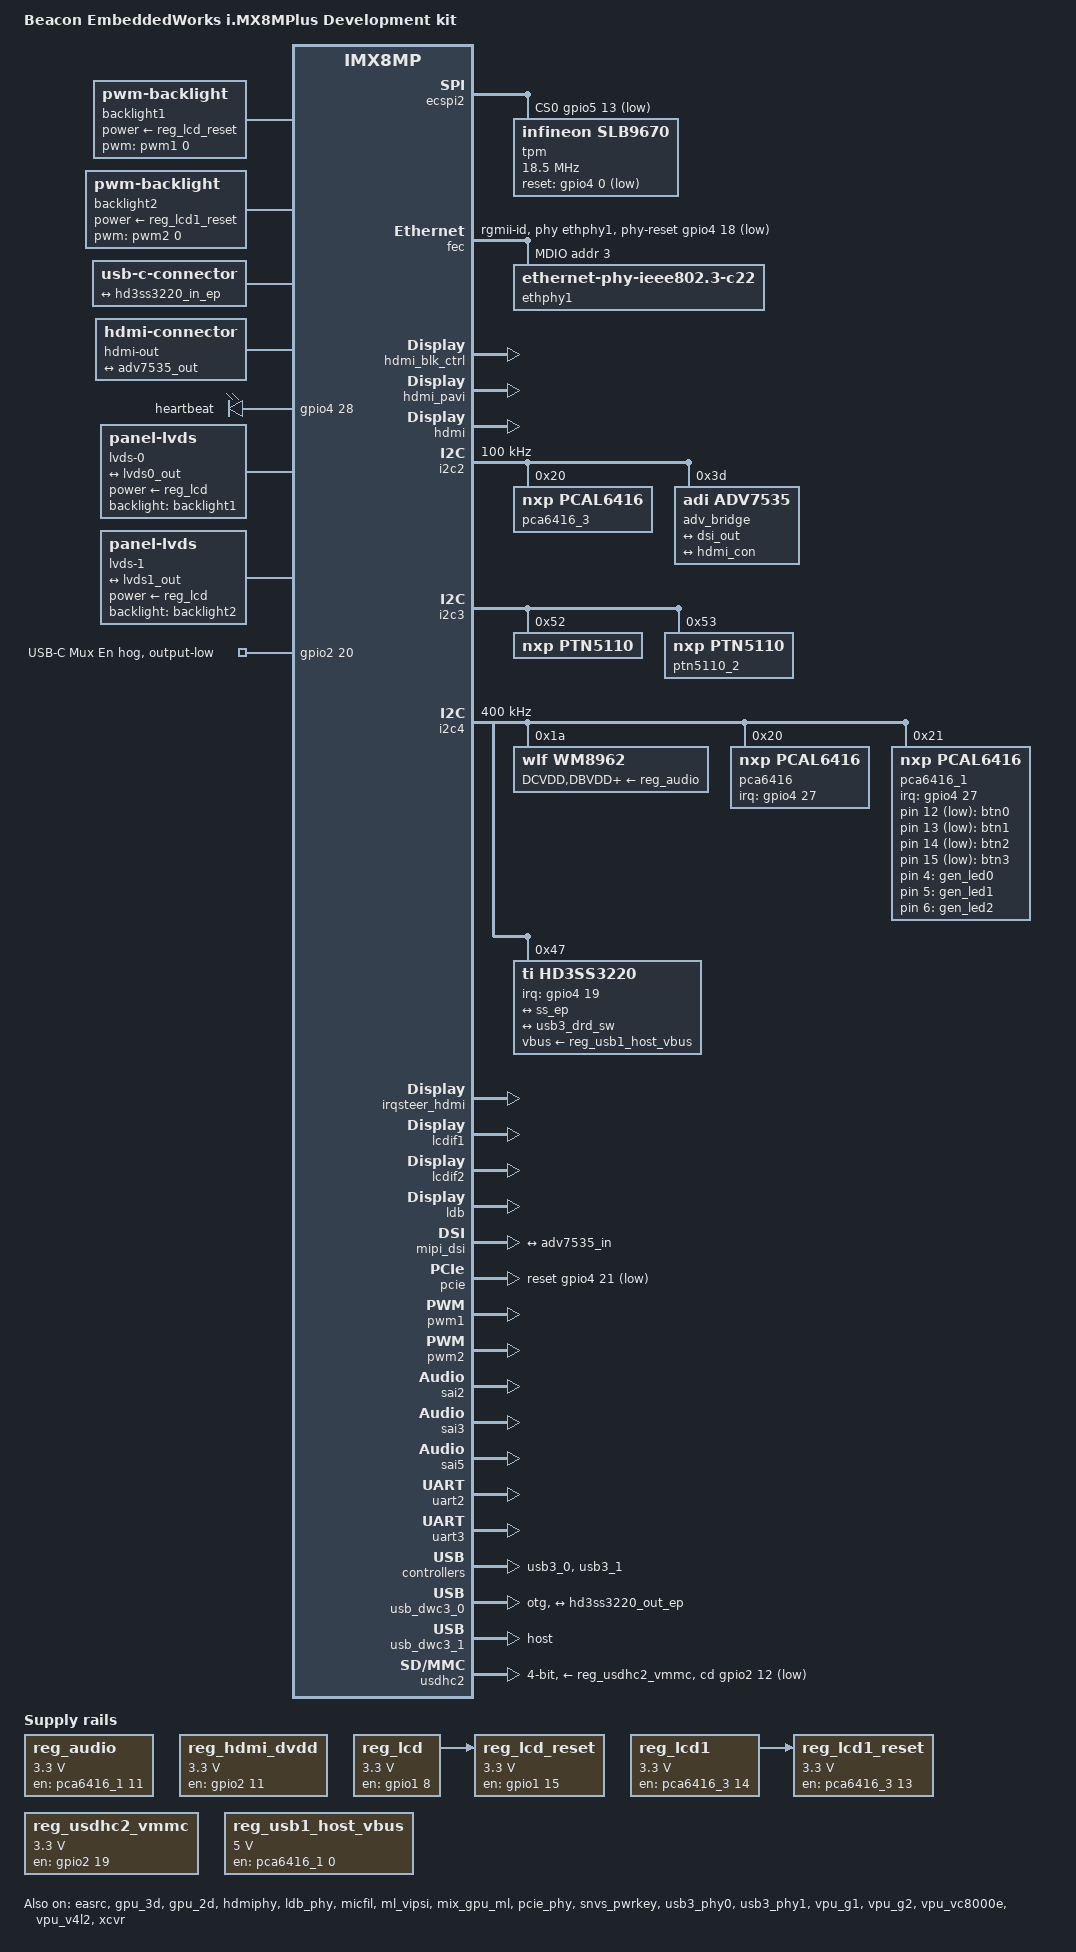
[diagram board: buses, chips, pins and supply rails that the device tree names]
// SPDX-License-Identifier: (GPL-2.0+ OR MIT)
/*
 * Copyright 2022 Logic PD, Inc dba Beacon EmbeddedWorks
 */

/dts-v1/;

#include <dt-bindings/usb/pd.h>
#include "imx8mp.dtsi"
#include "imx8mp-beacon-som.dtsi"

/ {
	model = "Beacon EmbeddedWorks i.MX8MPlus Development kit";
	compatible = "beacon,imx8mp-beacon-kit", "fsl,imx8mp";

	aliases {
		ethernet0 = &eqos;
		ethernet1 = &fec;
	};

	chosen {
		stdout-path = &uart2;
	};

	backlight1: backlight-1 {
		compatible = "pwm-backlight";
		pwms = <&pwm1 0 100000>;
		power-supply = <&reg_lcd_reset>;
		status = "okay";

		brightness-levels = < 0  1  2  3  4  5  6  7  8  9
				     10 11 12 13 14 15 16 17 18 19
				     20 21 22 23 24 25 26 27 28 29
				     30 31 32 33 34 35 36 37 38 39
				     40 41 42 43 44 45 46 47 48 49
				     50 51 52 53 54 55 56 57 58 59
				     60 61 62 63 64 65 66 67 68 69
				     70 71 72 73 74 75 76 77 78 79
				     80 81 82 83 84 85 86 87 88 89
				     90 91 92 93 94 95 96 97 98 99
				    100>;
		default-brightness-level = <80>;
	};

	backlight2: backlight-2 {
		compatible = "pwm-backlight";
		pwms = <&pwm2 0 100000>;
		power-supply = <&reg_lcd1_reset>;
		status = "okay";

		brightness-levels = < 0  1  2  3  4  5  6  7  8  9
				     10 11 12 13 14 15 16 17 18 19
				     20 21 22 23 24 25 26 27 28 29
				     30 31 32 33 34 35 36 37 38 39
				     40 41 42 43 44 45 46 47 48 49
				     50 51 52 53 54 55 56 57 58 59
				     60 61 62 63 64 65 66 67 68 69
				     70 71 72 73 74 75 76 77 78 79
				     80 81 82 83 84 85 86 87 88 89
				     90 91 92 93 94 95 96 97 98 99
				    100>;
		default-brightness-level = <80>;
	};

	connector {
		compatible = "usb-c-connector";
		label = "USB-C";
		data-role = "dual";

		ports {
			#address-cells = <1>;
			#size-cells = <0>;

			port@1 {
				reg = <1>;
				ss_ep: endpoint {
					remote-endpoint = <&hd3ss3220_in_ep>;
				};
			};
		};
	};

	gpio-keys {
		compatible = "gpio-keys";
		autorepeat;

		btn0 {
			label = "btn0";
			linux,code = <BTN_0>;
			gpios = <&pca6416_1 12 (GPIO_ACTIVE_LOW | GPIO_PULL_UP)>;
			wakeup-source;
		};

		btn1 {
			label = "btn1";
			linux,code = <BTN_1>;
			gpios = <&pca6416_1 13 (GPIO_ACTIVE_LOW | GPIO_PULL_UP)>;
			wakeup-source;
		};

		btn2 {
			label = "btn2";
			linux,code = <BTN_2>;
			gpios = <&pca6416_1 14 (GPIO_ACTIVE_LOW | GPIO_PULL_UP)>;
			wakeup-source;
		};

		btn3 {
			label = "btn3";
			linux,code = <BTN_3>;
			gpios = <&pca6416_1 15 (GPIO_ACTIVE_LOW | GPIO_PULL_UP)>;
			wakeup-source;
		};
	};

	hdmi-out {
		compatible = "hdmi-connector";
		type = "a";

		port {
			hdmi_con: endpoint {
				remote-endpoint = <&adv7535_out>;
			};
		};
	};

	leds {
		compatible = "gpio-leds";

		led0 {
			label = "gen_led0";
			gpios = <&pca6416_1 4 GPIO_ACTIVE_HIGH>;
			default-state = "off";
		};

		led1 {
			label = "gen_led1";
			gpios = <&pca6416_1 5 GPIO_ACTIVE_HIGH>;
			default-state = "off";
		};

		led2 {
			label = "gen_led2";
			gpios = <&pca6416_1 6 GPIO_ACTIVE_HIGH>;
			default-state = "off";
		};

		led3 {
			pinctrl-names = "default";
			pinctrl-0 = <&pinctrl_led3>;
			label = "heartbeat";
			gpios = <&gpio4 28 GPIO_ACTIVE_HIGH>;
			linux,default-trigger = "heartbeat";
		};
	};

	lvds-0 {
		compatible = "panel-lvds";
		power-supply = <&reg_lcd>;
		width-mm = <223>;
		height-mm = <125>;
		backlight = <&backlight1>;
		data-mapping = "vesa-24";

		panel-timing {
			/* 800x480@60Hz */
			clock-frequency = <30000000>;
			hactive = <800>;
			vactive = <480>;
			hsync-len = <48>;
			hfront-porch = <40>;
			hback-porch = <40>;
			vfront-porch = <13>;
			vback-porch = <29>;
			vsync-len = <1>;
			hsync-active = <1>;
			vsync-active = <3>;
			de-active = <1>;
			pixelclk-active = <0>;
		};

		port {
			panel0_in: endpoint {
				remote-endpoint = <&lvds0_out>;
			};
		};
	};

	lvds-1 {
		compatible = "panel-lvds";
		power-supply = <&reg_lcd>;
		width-mm = <223>;
		height-mm = <125>;
		backlight = <&backlight2>;
		data-mapping = "vesa-24";

		panel-timing {
			/* 800x480@60Hz */
			clock-frequency = <30000000>;
			hactive = <800>;
			vactive = <480>;
			hsync-len = <48>;
			hfront-porch = <40>;
			hback-porch = <40>;
			vfront-porch = <13>;
			vback-porch = <29>;
			vsync-len = <1>;
			hsync-active = <1>;
			vsync-active = <3>;
			de-active = <1>;
			pixelclk-active = <0>;
		};

		port {
			panel1_in: endpoint {
				remote-endpoint = <&lvds1_out>;
			};
		};
	};

	reg_audio: regulator-audio {
		compatible = "regulator-fixed";
		regulator-name = "3v3_aud";
		regulator-min-microvolt = <3300000>;
		regulator-max-microvolt = <3300000>;
		gpio = <&pca6416_1 11 GPIO_ACTIVE_HIGH>;
		enable-active-high;
	};

	reg_hdmi_dvdd: regulator-hdmi-dvdd {
		pinctrl-names = "default";
		pinctrl-0 = <&pinctrl_hdmi>;
		compatible = "regulator-fixed";
		regulator-name = "hdmi_pwr_en";
		regulator-min-microvolt = <3300000>;
		regulator-max-microvolt = <3300000>;
		gpio = <&gpio2 11 GPIO_ACTIVE_HIGH>;
		enable-active-high;
		startup-delay-us = <70000>;
	};

	reg_lcd_reset: regulator-lcd-reset {
		pinctrl-names = "default";
		pinctrl-0 = <&pinctrl_lcd_rst>;
		compatible = "regulator-fixed";
		regulator-name = "nLCD_RESET";
		regulator-min-microvolt = <3300000>;
		regulator-max-microvolt = <3300000>;
		gpio = <&gpio1 15 GPIO_ACTIVE_HIGH>;
		enable-active-high;
		vin-supply = <&reg_lcd>;
	};

	reg_lcd: regulator-lcd {
		compatible = "regulator-fixed";
		pinctrl-names = "default";
                pinctrl-0 = <&pinctrl_lcd_reg>;
                regulator-name = "lcd_regulator";
                regulator-min-microvolt = <3300000>;
                regulator-max-microvolt = <3300000>;
                gpio = <&gpio1 8 GPIO_ACTIVE_HIGH>;
                enable-active-high;

	};

	reg_lcd1_reset: regulator-lcd1-reset {
		compatible = "regulator-fixed";
		regulator-name = "LVDS-1 reset";
		regulator-min-microvolt = <3300000>;
		regulator-max-microvolt = <3300000>;
		gpio = <&pca6416_3 13 GPIO_ACTIVE_HIGH>;
		enable-active-high;
		vin-supply = <&reg_lcd1>;
	};

	reg_lcd1: regulator-lcd1 {
		compatible = "regulator-fixed";
                regulator-name = "lvds-1 power";
                regulator-min-microvolt = <3300000>;
                regulator-max-microvolt = <3300000>;
                gpio = <&pca6416_3 14 GPIO_ACTIVE_HIGH>;
                enable-active-high;

	};

	reg_usdhc2_vmmc: regulator-usdhc2 {
		compatible = "regulator-fixed";
		regulator-name = "VSD_3V3";
		regulator-min-microvolt = <3300000>;
		regulator-max-microvolt = <3300000>;
		gpio = <&gpio2 19 GPIO_ACTIVE_HIGH>;
		enable-active-high;
		startup-delay-us = <100>;
		off-on-delay-us = <20000>;
	};

	reg_usb1_host_vbus: regulator-usb1-vbus {
		compatible = "regulator-fixed";
		regulator-name = "usb1_host_vbus";
		regulator-min-microvolt = <5000000>;
		regulator-max-microvolt = <5000000>;
		gpio = <&pca6416_1 0 GPIO_ACTIVE_HIGH>;
		enable-active-high;
	};

	sound-hdmi {
		compatible = "fsl,imx-audio-hdmi";
		model = "audio-hdmi";
		audio-cpu = <&aud2htx>;
		hdmi-out;
		constraint-rate = <44100>,
				<88200>,
				<176400>,
				<32000>,
				<48000>,
				<96000>,
				<192000>;
		status = "disabled";
	};

	sound-hdmi-bridge {
		compatible = "simple-audio-card";
		simple-audio-card,name = "hdmi-sound";
		simple-audio-card,format = "i2s";
		#sound-dai-cells = <0>;
		status = "disabled";

		simple-audio-card,cpu {
			sound-dai = <&sai5 0>;
			system-clock-direction-out;
		};
		simple-audio-card,codec {
			sound-dai = <&adv_bridge 0>;
		};
	};

	sound-codec {
		compatible = "fsl,imx-audio-wm8962";
		model = "wm8962-audio";
		audio-cpu = <&sai3>;
		audio-codec = <&wm8962>;
		audio-routing =
			"Headphone Jack", "HPOUTL",
			"Headphone Jack", "HPOUTR",
			"Ext Spk", "SPKOUTL",
			"Ext Spk", "SPKOUTR",
			"AMIC", "MICBIAS",
			"IN3R", "AMIC";
	};

	sound-micfil {
		compatible = "fsl,imx-audio-card";
		model = "imx-audio-micfil";
		pri-dai-link {
			link-name = "micfil hifi";
			format = "i2s";
			cpu {
				sound-dai = <&micfil>;
			};
		};
	};

	sound-xcvr {
		compatible = "fsl,imx-audio-xcvr";
		model = "imx-audio-xcvr";
		cpu-dai = <&xcvr>;
	};
};

&easrc {
	fsl,asrc-rate  = <48000>;
	status = "okay";
};

&ecspi2 {
	#address-cells = <1>;
	#size-cells = <0>;
	fsl,spi-num-chipselects = <1>;
	pinctrl-names = "default";
	pinctrl-0 = <&pinctrl_ecspi2>;
	cs-gpios = <&gpio5 13 GPIO_ACTIVE_LOW>;
	status = "okay";

	tpm: tpm_tis@0 {
		pinctrl-names = "default";
		pinctrl-0 = <&pinctrl_tpm>;
		compatible = "infineon,slb9670";
		reg = <0>;
		spi-max-frequency = <18500000>;
		reset-gpios = <&gpio4 0 GPIO_ACTIVE_LOW>;
	};
};

&fec {
	pinctrl-names = "default";
	pinctrl-0 = <&pinctrl_fec>;
	phy-mode = "rgmii-id";
	phy-handle = <&ethphy1>;
	phy-reset-gpios = <&gpio4 18 GPIO_ACTIVE_LOW>;
	phy-reset-post-delay = <150>;
	phy-reset-duration = <10>;
	fsl,magic-packet;
	status = "okay";

	mdio {
		#address-cells = <1>;
		#size-cells = <0>;

		ethphy1: ethernet1-phy@3 {
			compatible = "ethernet-phy-ieee802.3-c22";
			reg = <3>;
		};
	};
};

&gpu_3d {
	status = "okay";
};

&gpu_2d {
	status = "okay";
};

&hdmi_blk_ctrl {
	status = "okay";
};

&hdmi_pavi {
	status = "okay";
};

&hdmi {
	status = "okay";
};

&hdmiphy {
	status = "okay";
};

&i2c2 {
	clock-frequency = <100000>;
	pinctrl-names = "default";
	pinctrl-0 = <&pinctrl_i2c2>;
	status = "okay";

	pca6416_3: gpio-i2c2@20 {
                compatible = "nxp,pcal6416";
                reg = <0x20>;
                gpio-controller;
                #gpio-cells = <2>;
        };

	adv_bridge: adv7535@3d {
		compatible = "adi,adv7535";
		reg = <0x3d>;
		adi,addr-cec = <0x3b>;
		adi,dsi-lanes = <4>;
		#sound-dai-cells = <0>;
		status = "okay";

		ports {
			#address-cells = <1>;
			#size-cells = <0>;

			port@0 {
				reg = <0>;
				adv7535_in: endpoint {
					remote-endpoint = <&dsi_out>;
				};
			};

			port@1 {
				reg = <1>;
				adv7535_out: endpoint {
					remote-endpoint = <&hdmi_con>;
				};
			};
		};
	};
};

&i2c3 {
	/* Connected to USB Dual-Role Hub */
	ptn5110: tcpc@52 {
		compatible = "nxp,ptn5110";
		reg = <0x52>;

		typec1_con: connector {
			compatible = "usb-c-connector";
			label = "USB-C";
			power-role = "dual";
			data-role = "dual";
			try-power-role = "sink";
			source-pdos = <PDO_FIXED(5000, 3000, PDO_FIXED_USB_COMM)>;
			sink-pdos = <PDO_FIXED(5000, 3000, PDO_FIXED_USB_COMM)
				     PDO_VAR(5000, 20000, 3000)>;
			op-sink-microwatt = <15000000>;
			self-powered;
			status = "disabled";
		};
	};

	/* Enables power to board */
	ptn5110_2: tcpc@53 {
		compatible = "nxp,ptn5110";
		reg = <0x53>;

		usb_pwr: connector {
			compatible = "usb-c-connector";
			label = "USB-C";
			data-role = "device";
			power-role = "sink";
			try-power-role = "sink";
			sink-pdos = <PDO_FIXED(9000, 2000, PDO_FIXED_USB_COMM)
				     PDO_VAR(12000, 20000, 2000)>;
			op-sink-microwatt = <10000000>;
			status = "disabled";
		};
	};
};

&i2c4 {
	clock-frequency = <400000>;
	pinctrl-names = "default";
	pinctrl-0 = <&pinctrl_i2c4>;
	status = "okay";

	wm8962: audio-codec@1a {
		compatible = "wlf,wm8962";
		reg = <0x1a>;
		clocks = <&clk IMX8MP_CLK_SAI3_ROOT>;
		clock-names = "xclk";
		DCVDD-supply = <&reg_audio>;
		DBVDD-supply = <&reg_audio>;
		AVDD-supply = <&reg_audio>;
		CPVDD-supply = <&reg_audio>;
		MICVDD-supply = <&reg_audio>;
		PLLVDD-supply = <&reg_audio>;
		SPKVDD1-supply = <&reg_audio>;
		SPKVDD2-supply = <&reg_audio>;
		gpio-cfg = <
			0x0000 /* 0:Default */
			0x0000 /* 1:Default */
			0x0000 /* 2:FN_DMICCLK */
			0x0000 /* 3:Default */
			0x0000 /* 4:FN_DMICCDAT */
			0x0000 /* 5:Default */
		>;
	};

	pca6416: gpio@20 {
		compatible = "nxp,pcal6416";
		reg = <0x20>;
		pinctrl-names = "default";
		pinctrl-0 = <&pinctrl_pcal6414>;
		gpio-controller;
		#gpio-cells = <2>;
		interrupt-parent = <&gpio4>;
		interrupts = <27 IRQ_TYPE_LEVEL_LOW>;
	};

	pca6416_1: gpio@21 {
		compatible = "nxp,pcal6416";
		reg = <0x21>;
		gpio-controller;
		#gpio-cells = <2>;
		interrupt-parent = <&gpio4>;
		interrupts = <27 IRQ_TYPE_LEVEL_LOW>;

		usb-reset {
			gpio-hog;
			gpios = <7 0>;
			output-low;
			line-name = "USB Hub Reset";
		};
	};

	hd3ss3220@47 {
		pinctrl-names = "default";
		pinctrl-0 = <&pinctrl_hd3ss3220>;
		compatible = "ti,hd3ss3220";
		reg = <0x47>;
		vbus-supply = <&reg_usb1_host_vbus>;
		interrupt-parent = <&gpio4>;
		interrupts = <19 IRQ_TYPE_LEVEL_LOW>;

		ports {
			#address-cells = <1>;
			#size-cells = <0>;
			port@0 {
				reg = <0>;
				hd3ss3220_in_ep: endpoint {
					remote-endpoint = <&ss_ep>;
				};
			};
			port@1 {
				reg = <1>;
				hd3ss3220_out_ep: endpoint {
					remote-endpoint = <&usb3_drd_sw>;
				};
			};
		};
	};
};

&gpio2 {
	usb-reset {
		gpio-hog;
		gpios = <20 0>;
		output-low;
		line-name = "USB-C Mux En";
	};
};

&irqsteer_hdmi {
	status = "okay";
};

&lcdif1 {
	status = "okay";
};

&lcdif2 {
	status = "okay";
};

&lcdif3 {
	status = "disabled";

	thres-low  = <1 2>;             /* (FIFO * 1 / 2) */
	thres-high = <3 4>;             /* (FIFO * 3 / 4) */
};

&ldb {
	status = "okay";

	lvds-channel@0 {
		status = "okay";
		fsl,data-mapping = "spwg";
		fsl,data-width = <24>;

		port@1 {
			reg = <1>;

			lvds0_out: endpoint {
				remote-endpoint = <&panel0_in>;
			};
		};
	};

	lvds-channel@1 {
		status = "okay";
		fsl,data-mapping = "spwg";
		fsl,data-width = <24>;

		port@1 {
			reg = <1>;

			lvds1_out: endpoint {
				remote-endpoint = <&panel1_in>;
			};
		};
	};
};

&ldb_phy {
	status = "okay";
};

&micfil {
	pinctrl-names = "default";
	pinctrl-0 = <&pinctrl_pdm>;
	assigned-clocks = <&clk IMX8MP_CLK_PDM>;
	assigned-clock-parents = <&clk IMX8MP_AUDIO_PLL1_OUT>;
	assigned-clock-rates = <196608000>;
	#sound-dai-cells = <0>;
	status = "okay";
};

&mipi_dsi {
	status = "okay";

	port@1 {
		dsi_out: endpoint {
			remote-endpoint = <&adv7535_in>;
			attach-bridge;
		};
	};
};

&ml_vipsi {
	status = "okay";
};

&mix_gpu_ml {
	status = "okay";
};

&pcie{
	pinctrl-names = "default";
	pinctrl-0 = <&pinctrl_pcie>;
	disable-gpio = <&gpio1 5 GPIO_ACTIVE_LOW>;
	reset-gpio = <&gpio4 21 GPIO_ACTIVE_LOW>;
	ext_osc = <1>;
	clocks = <&clk IMX8MP_CLK_HSIO_ROOT>,
		 <&clk IMX8MP_CLK_PCIE_AUX>,
		 <&clk IMX8MP_CLK_HSIO_AXI>,
		 <&clk IMX8MP_CLK_PCIE_ROOT>;
	clock-names = "pcie", "pcie_aux", "pcie_phy", "pcie_bus";
	assigned-clocks = <&clk IMX8MP_CLK_HSIO_AXI>,
			  <&clk IMX8MP_CLK_PCIE_AUX>;
	assigned-clock-rates = <500000000>, <10000000>;
	assigned-clock-parents = <&clk IMX8MP_SYS_PLL2_500M>,
				 <&clk IMX8MP_SYS_PLL2_50M>;
	l1ss-disabled;
	status = "okay";
};

&pcie_ep{
	pinctrl-names = "default";
	pinctrl-0 = <&pinctrl_pcie>;
	ext_osc = <1>;
	clocks = <&clk IMX8MP_CLK_HSIO_ROOT>,
		 <&clk IMX8MP_CLK_PCIE_AUX>,
		 <&clk IMX8MP_CLK_HSIO_AXI>,
		 <&clk IMX8MP_CLK_PCIE_ROOT>;
	clock-names = "pcie", "pcie_aux", "pcie_phy", "pcie_bus";
	assigned-clocks = <&clk IMX8MP_CLK_HSIO_AXI>,
			  <&clk IMX8MP_CLK_PCIE_AUX>;
	assigned-clock-rates = <500000000>, <10000000>;
	assigned-clock-parents = <&clk IMX8MP_SYS_PLL2_500M>,
				 <&clk IMX8MP_SYS_PLL2_50M>;
	status = "disabled";
};

&pcie_phy{
	ext_osc = <1>;
	status = "okay";
};

&pwm1 {
        status = "okay";
        pinctrl-names = "default";
        pinctrl-0 = <&pinctrl_pwm1>;
};

&pwm2 {
        status = "okay";
        pinctrl-names = "default";
        pinctrl-0 = <&pinctrl_pwm2>;
};

&sai2 {
	#sound-dai-cells = <0>;
	pinctrl-names = "default";
	pinctrl-0 = <&pinctrl_sai2>;
	assigned-clocks = <&clk IMX8MP_CLK_SAI2>;
	assigned-clock-parents = <&clk IMX8MP_AUDIO_PLL1_OUT>;
	assigned-clock-rates = <12288000>;
	status = "okay";
};

&sai3 {
	pinctrl-names = "default";
	pinctrl-0 = <&pinctrl_sai3>;
	assigned-clocks = <&clk IMX8MP_CLK_SAI3>;
	assigned-clock-parents = <&clk IMX8MP_AUDIO_PLL1_OUT>;
	assigned-clock-rates = <12288000>;
	clocks = <&audio_blk_ctrl IMX8MP_CLK_AUDIO_BLK_CTRL_SAI3_IPG>,
		 <&clk IMX8MP_CLK_DUMMY>,
		 <&audio_blk_ctrl IMX8MP_CLK_AUDIO_BLK_CTRL_SAI3_MCLK1>,
		 <&clk IMX8MP_CLK_DUMMY>,
		 <&clk IMX8MP_CLK_DUMMY>;
	clock-names = "bus", "mclk0", "mclk1", "mclk2", "mclk3";
	fsl,sai-mclk-direction-output;
	status = "okay";
};

&sai5 {
	pinctrl-names = "default";
	pinctrl-0 = <&pinctrl_sai5>;
	assigned-clocks = <&clk IMX8MP_CLK_SAI5>;
	assigned-clock-parents = <&clk IMX8MP_AUDIO_PLL1_OUT>;
	assigned-clock-rates = <24576000>;
	#sound-dai-cells = <0>;
	status = "okay";
};

&sdma2 {
	status = "okay";
};

&snvs_pwrkey {
	status = "okay";
};

&uart2 {
	/* console */
	pinctrl-names = "default";
	pinctrl-0 = <&pinctrl_uart2>;
	status = "okay";
};

&uart3 {
	pinctrl-names = "default";
	pinctrl-0 = <&pinctrl_uart3>;
	assigned-clocks = <&clk IMX8MP_CLK_UART3>;
	assigned-clock-parents = <&clk IMX8MP_SYS_PLL1_80M>;
	fsl,uart-has-rtscts;
	status = "okay";
};

&usb3_phy0 {
	fsl,phy-tx-vref-tune = <0xe>;
	fsl,phy-tx-preemp-amp-tune = <3>;
	fsl,phy-tx-vboost-level = <5>;
	fsl,phy-comp-dis-tune = <7>;
	fsl,pcs-tx-deemph-3p5db = <0x21>;
	fsl,phy-pcs-tx-swing-full = <0x7f>;
	status = "okay";
};

&usb3_0 {
	status = "okay";
};

&usb_dwc3_0 {
	dr_mode = "otg";
	hnp-disable;
	srp-disable;
	adp-disable;
	usb-role-switch;
	role-switch-default-mode = "none";
	snps,dis-u1-entry-quirk;
	snps,dis-u2-entry-quirk;
	status = "okay";

	port@0 {
		usb3_drd_sw: endpoint {
			remote-endpoint = <&hd3ss3220_out_ep>;
		};
	};
};

&usb3_phy1 {
	fsl,phy-tx-preemp-amp-tune = <3>;
	fsl,phy-tx-vref-tune = <0xb>;
	status = "okay";
};

&usb3_1 {
	status = "okay";
};

&usb_dwc3_1 {
	pinctrl-names = "default";
	pinctrl-0 = <&pinctrl_usb1_vbus>;
	dr_mode = "host";
	status = "okay";
};

&usdhc2 {
	assigned-clocks = <&clk IMX8MP_CLK_USDHC2>;
	assigned-clock-rates = <400000000>;
	pinctrl-names = "default", "state_100mhz", "state_200mhz";
	pinctrl-0 = <&pinctrl_usdhc2>, <&pinctrl_usdhc2_gpio>;
	pinctrl-1 = <&pinctrl_usdhc2_100mhz>, <&pinctrl_usdhc2_gpio>;
	pinctrl-2 = <&pinctrl_usdhc2_200mhz>, <&pinctrl_usdhc2_gpio>;
	cd-gpios = <&gpio2 12 GPIO_ACTIVE_LOW>;
	vmmc-supply = <&reg_usdhc2_vmmc>;
	bus-width = <4>;
	status = "okay";
};

&vpu_g1 {
	status = "okay";
};

&vpu_g2 {
	status = "okay";
};

&vpu_vc8000e {
	status = "okay";
};

&vpu_v4l2 {
	status = "okay";
};

&xcvr {
	#sound-dai-cells = <0>;
	status = "okay";
};

&iomuxc {
	pinctrl-names = "default";
	pinctrl-0 = <&pinctrl_hog>;

	pinctrl_hog: hoggrp {
		fsl,pins = <
			MX8MP_IOMUXC_HDMI_DDC_SCL__HDMIMIX_HDMI_SCL	0x400001c3
			MX8MP_IOMUXC_HDMI_DDC_SDA__HDMIMIX_HDMI_SDA	0x400001c3
			MX8MP_IOMUXC_HDMI_HPD__HDMIMIX_HDMI_HPD		0x40000019
			MX8MP_IOMUXC_HDMI_CEC__HDMIMIX_HDMI_CEC		0x40000019
			MX8MP_IOMUXC_SD2_WP__GPIO2_IO20			0x16
		>;
	};

	pinctrl_lcd_rst: lcd_rstgrp {
		fsl,pins = <
			MX8MP_IOMUXC_GPIO1_IO15__GPIO1_IO15		0x16
		>;
	};

	pinctrl_lcd_reg: lcd_reggrp {
		fsl,pins = <
			MX8MP_IOMUXC_GPIO1_IO08__GPIO1_IO08		0x16
		>;
	};

	pinctrl_touchscreen: touchscreengrp {
		fsl,pins = <
			MX8MP_IOMUXC_GPIO1_IO09__GPIO1_IO09	0x119
		>;
	};

	pinctrl_lvds: lvdsgrp {
		fsl,pins = <
			MX8MP_IOMUXC_SD1_STROBE__GPIO2_IO11		0x16
		>;
	};

	pinctrl_pwm1: pwm1grp {
		fsl,pins = <
			MX8MP_IOMUXC_GPIO1_IO01__PWM1_OUT	0x116
		>;
	};

	pinctrl_pwm2: pwm2grp {
		fsl,pins = <
			MX8MP_IOMUXC_GPIO1_IO09__PWM2_OUT	0x116
		>;
	};

	pinctrl_ecspi2: ecspi2grp {
		fsl,pins = <
			MX8MP_IOMUXC_ECSPI2_SCLK__ECSPI2_SCLK		0x82
			MX8MP_IOMUXC_ECSPI2_MOSI__ECSPI2_MOSI		0x82
			MX8MP_IOMUXC_ECSPI2_MISO__ECSPI2_MISO		0x82
			MX8MP_IOMUXC_ECSPI2_SS0__GPIO5_IO13		0x40000
		>;
	};

	pinctrl_i2c4: i2c4grp {
		fsl,pins = <
			MX8MP_IOMUXC_I2C4_SCL__I2C4_SCL		0x400001c2
			MX8MP_IOMUXC_I2C4_SDA__I2C4_SDA		0x400001c2
		>;
	};

	pinctrl_fec: fecgrp {
		fsl,pins = <
			MX8MP_IOMUXC_SAI1_RXD2__ENET1_MDC		0x2
			MX8MP_IOMUXC_SAI1_RXD3__ENET1_MDIO		0x2
			MX8MP_IOMUXC_SAI1_RXD4__ENET1_RGMII_RD0	0x90
			MX8MP_IOMUXC_SAI1_RXD5__ENET1_RGMII_RD1	0x90
			MX8MP_IOMUXC_SAI1_RXD6__ENET1_RGMII_RD2	0x90
			MX8MP_IOMUXC_SAI1_RXD7__ENET1_RGMII_RD3	0x90
			MX8MP_IOMUXC_SAI1_TXC__ENET1_RGMII_RXC	0x90
			MX8MP_IOMUXC_SAI1_TXFS__ENET1_RGMII_RX_CTL	0x90
			MX8MP_IOMUXC_SAI1_TXD0__ENET1_RGMII_TD0	0x16
			MX8MP_IOMUXC_SAI1_TXD1__ENET1_RGMII_TD1	0x16
			MX8MP_IOMUXC_SAI1_TXD2__ENET1_RGMII_TD2	0x16
			MX8MP_IOMUXC_SAI1_TXD3__ENET1_RGMII_TD3	0x16
			MX8MP_IOMUXC_SAI1_TXD4__ENET1_RGMII_TX_CTL	0x16
			MX8MP_IOMUXC_SAI1_TXD5__ENET1_RGMII_TXC	0x16
			MX8MP_IOMUXC_SAI1_RXD0__GPIO4_IO02		0x10
			MX8MP_IOMUXC_SAI1_TXD6__GPIO4_IO18		0x10
		>;
	};

	pinctrl_hd3ss3220: hd3ss3220grp {
		fsl,pins = <
			MX8MP_IOMUXC_SAI1_TXD7__GPIO4_IO19 	0x1d6
		>;
	};

	pinctrl_hdmi: hdmigrp {
		fsl,pins = <
			MX8MP_IOMUXC_SD1_STROBE__GPIO2_IO11              0x16
		>;
	};

	pinctrl_hdmi_bridge: synaptics_dsx_iogrp {
		fsl,pins = <
			MX8MP_IOMUXC_GPIO1_IO09__GPIO1_IO09		0x16
		>;
	};

	pinctrl_i2c2: i2c2grp {
		fsl,pins = <
			MX8MP_IOMUXC_I2C2_SCL__I2C2_SCL		0x400001c2
			MX8MP_IOMUXC_I2C2_SDA__I2C2_SDA		0x400001c2
		>;
	};

	pinctrl_mipi_dsi_en: mipi_dsi_en {
		fsl,pins = <
			MX8MP_IOMUXC_GPIO1_IO08__GPIO1_IO08	0x16
		>;
	};

	pinctrl_pcal6414: pcal6414-gpiogrp {
		fsl,pins = <
			MX8MP_IOMUXC_SAI2_MCLK__GPIO4_IO27		0x19
		>;
	};

	pinctrl_led3: led3grp {
		fsl,pins = <
			MX8MP_IOMUXC_SAI3_RXFS__GPIO4_IO28	0x41
		>;
	};

	pinctrl_pcie: pciegrp {
		fsl,pins = <
			MX8MP_IOMUXC_GPIO1_IO05__GPIO1_IO05	0x19 /* PCIe_nDIS */
			MX8MP_IOMUXC_SAI2_RXFS__GPIO4_IO21 0x41	/* PCIe_nRST */
		>;
	};

	pinctrl_reg_usdhc2_vmmc: regusdhc2vmmcgrp {
		fsl,pins = <
			MX8MP_IOMUXC_SD2_RESET_B__GPIO2_IO19	0x41
		>;
	};

	pinctrl_pdm: pdmgrp {
		fsl,pins = <
			MX8MP_IOMUXC_SAI5_RXC__AUDIOMIX_PDM_CLK		0xd6
			MX8MP_IOMUXC_SAI5_RXD0__AUDIOMIX_PDM_BIT_STREAM00	0xd6
		>;
	};

	pinctrl_sai2: sai2grp {
		fsl,pins = <
			MX8MP_IOMUXC_SAI2_TXC__AUDIOMIX_SAI2_TX_BCLK	0xd6
			MX8MP_IOMUXC_SAI2_TXFS__AUDIOMIX_SAI2_TX_SYNC	0xd6
			MX8MP_IOMUXC_SAI2_TXD0__AUDIOMIX_SAI2_TX_DATA00	0xd6
			MX8MP_IOMUXC_SAI2_RXD0__AUDIOMIX_SAI2_RX_DATA00	0xd6
		>;
	};

	pinctrl_sai3: sai3grp {
		fsl,pins = <
			MX8MP_IOMUXC_SAI3_TXFS__AUDIOMIX_SAI3_TX_SYNC	0xd6
			MX8MP_IOMUXC_SAI3_TXC__AUDIOMIX_SAI3_TX_BCLK	0xd6
			MX8MP_IOMUXC_SAI3_RXD__AUDIOMIX_SAI3_RX_DATA00	0xd6
			MX8MP_IOMUXC_SAI3_TXD__AUDIOMIX_SAI3_TX_DATA00	0xd6
			MX8MP_IOMUXC_SAI3_MCLK__AUDIOMIX_SAI3_MCLK	0xd6
		>;
	};

	pinctrl_sai5: sai5grp {
		fsl,pins = <
			MX8MP_IOMUXC_SAI5_RXD3__AUDIOMIX_SAI5_TX_DATA00	0xd6
			MX8MP_IOMUXC_SAI5_RXD2__AUDIOMIX_SAI5_TX_BCLK	0xd6
			MX8MP_IOMUXC_SAI5_RXD1__AUDIOMIX_SAI5_TX_SYNC	0xd6
		>;
	};

	pinctrl_tpm: tpmgrp {
		fsl,pins = <
			MX8MP_IOMUXC_SAI1_RXFS__GPIO4_IO00	0x19 /* Reset */
			MX8MP_IOMUXC_SAI3_RXC__GPIO4_IO29	0x1d6 /* IRQ */
		>;
	};

	pinctrl_typec: typec1grp {
		fsl,pins = <
			MX8MP_IOMUXC_SAI1_TXD7__GPIO4_IO19	0x1c4
		>;
	};

	pinctrl_typec_mux: typec1muxgrp {
		fsl,pins = <
			MX8MP_IOMUXC_SAI1_MCLK__GPIO4_IO20	0x16
		>;
	};

	pinctrl_uart2: uart2grp {
		fsl,pins = <
			MX8MP_IOMUXC_UART2_RXD__UART2_DCE_RX	0x49
			MX8MP_IOMUXC_UART2_TXD__UART2_DCE_TX	0x49
		>;
	};

	pinctrl_uart3: uart3grp {
		fsl,pins = <
			MX8MP_IOMUXC_ECSPI1_SCLK__UART3_DCE_RX		0x140
			MX8MP_IOMUXC_ECSPI1_MOSI__UART3_DCE_TX		0x140
			MX8MP_IOMUXC_ECSPI1_SS0__UART3_DCE_RTS		0x140
			MX8MP_IOMUXC_ECSPI1_MISO__UART3_DCE_CTS		0x140
		>;
	};

	pinctrl_usb1_vbus: usb1grp {
		fsl,pins = <
			MX8MP_IOMUXC_GPIO1_IO14__USB2_PWR		0x19
		>;
	};

	pinctrl_usdhc2: usdhc2grp {
		fsl,pins = <
			MX8MP_IOMUXC_SD2_CLK__USDHC2_CLK	0x190
			MX8MP_IOMUXC_SD2_CMD__USDHC2_CMD	0x1d0
			MX8MP_IOMUXC_SD2_DATA0__USDHC2_DATA0	0x1d0
			MX8MP_IOMUXC_SD2_DATA1__USDHC2_DATA1	0x1d0
			MX8MP_IOMUXC_SD2_DATA2__USDHC2_DATA2	0x1d0
			MX8MP_IOMUXC_SD2_DATA3__USDHC2_DATA3	0x1d0
			MX8MP_IOMUXC_GPIO1_IO04__USDHC2_VSELECT	0xc1
		>;
	};

	pinctrl_usdhc2_100mhz: usdhc2-100mhzgrp {
		fsl,pins = <
			MX8MP_IOMUXC_SD2_CLK__USDHC2_CLK	0x194
			MX8MP_IOMUXC_SD2_CMD__USDHC2_CMD	0x1d4
			MX8MP_IOMUXC_SD2_DATA0__USDHC2_DATA0	0x1d4
			MX8MP_IOMUXC_SD2_DATA1__USDHC2_DATA1	0x1d4
			MX8MP_IOMUXC_SD2_DATA2__USDHC2_DATA2	0x1d4
			MX8MP_IOMUXC_SD2_DATA3__USDHC2_DATA3	0x1d4
			MX8MP_IOMUXC_GPIO1_IO04__USDHC2_VSELECT 0xc1
		>;
	};

	pinctrl_usdhc2_200mhz: usdhc2-200mhzgrp {
		fsl,pins = <
			MX8MP_IOMUXC_SD2_CLK__USDHC2_CLK	0x196
			MX8MP_IOMUXC_SD2_CMD__USDHC2_CMD	0x1d6
			MX8MP_IOMUXC_SD2_DATA0__USDHC2_DATA0	0x1d6
			MX8MP_IOMUXC_SD2_DATA1__USDHC2_DATA1	0x1d6
			MX8MP_IOMUXC_SD2_DATA2__USDHC2_DATA2	0x1d6
			MX8MP_IOMUXC_SD2_DATA3__USDHC2_DATA3	0x1d6
			MX8MP_IOMUXC_GPIO1_IO04__USDHC2_VSELECT 0xc1
		>;
	};

	pinctrl_usdhc2_gpio: usdhc2gpiogrp {
		fsl,pins = <
			MX8MP_IOMUXC_SD2_CD_B__GPIO2_IO12	0x1c4
		>;
	};

	pinctrl_csi0_pwn: csi0_pwn_grp {
		fsl,pins = <
			MX8MP_IOMUXC_SD1_STROBE__GPIO2_IO11	0x19
		>;
	};

	pinctrl_csi0_rst: csi0_rst_grp {
		fsl,pins = <
			MX8MP_IOMUXC_GPIO1_IO06__GPIO1_IO06		0x19
		>;
	};

	pinctrl_csi_mclk: csi_mclk_grp {
		fsl,pins = <
			MX8MP_IOMUXC_GPIO1_IO15__CCM_CLKO2	0x59
		>;
	};
};
